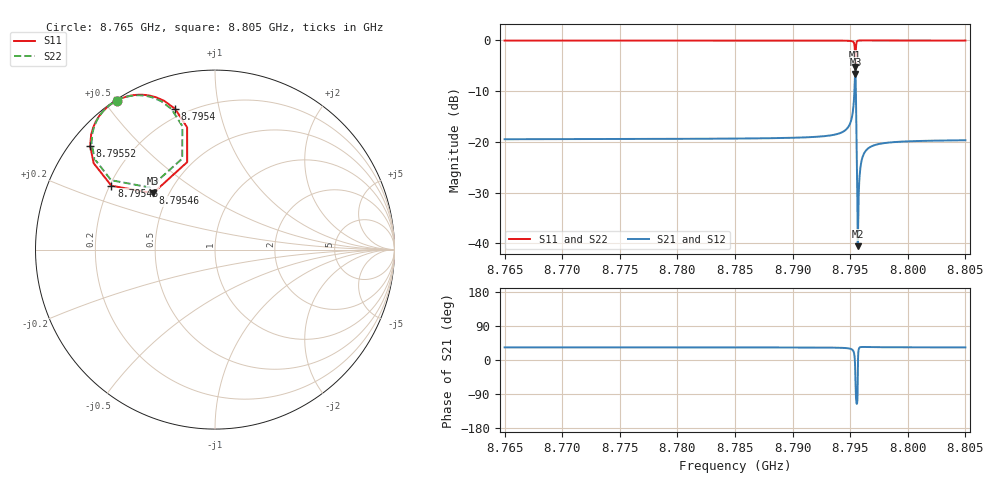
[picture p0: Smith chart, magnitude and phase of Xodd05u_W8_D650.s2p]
! Sonnet Data File
! From: emgraph Version : 16.52
! From Project: Qubit_Xmon2_brg_para2
! Data is De-embedded
! Data File Written: 11/12/2017 21:29:58
!< HDATE 11/12/2017 19:10:47
!< MDATE 11/12/2017 19:10:47
!< PARAMS
!< Lj = 11.0
!< Gap = 6.0
!< Pwid = 2000.0
!< Airgap = 6.0
!< Width = 10.0
!< Bwid = 8.0
!< Dis1 = 650.0
!< Dis2 = 656.0
!< END PARAMS
# GHZ S MA R 34.65000
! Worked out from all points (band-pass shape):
!   2001 points, 8.765 GHz to 8.805 GHz, reference 34.65 ohm
!   highest |S21| = -5.34 dB at 8.79544 GHz (marker M1); lowest = -40.5 dB at 8.79566 GHz (marker M2)
!   |S21| within 3 dB of the highest: 8.795394 GHz to 8.795483 GHz (89.68 kHz wide, 0.00102 % of centre)
!   lowest |S11| = -6.6 dB at 8.79546 GHz (marker M3), VSWR 2.75, Z = 14.2 + j11.4 ohm
!   |S11| at or under -10 dB: nowhere
!   |S22| runs from -6.0 to 0.0 dB; largest |S21 - S12| = 0
!   S11 on the Smith chart (normalised r, x): 8.765 GHz: 0.00, +0.54; 8.7954 GHz: 0.16, +0.74; 8.79546 GHz: 0.41, +0.33; 8.79548 GHz: 0.21, +0.27; 8.79552 GHz: 0.06, +0.36; 8.805 GHz: 0.00, +0.54
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8.765  0.9944 123.4  0.1061 33.4  0.1061 33.4  0.9944 123.4
!< P1 F=8.765 Eeff=(5.13709823 -5.6953e-5) Z0=(34.64455 -9.67e-5) R=0.0 C=0.0
!< P2 F=8.765 Eeff=(5.13709823 -5.6953e-5) Z0=(34.64455 -9.67e-5) R=0.0 C=0.0
8.77168  0.9943 123.3  0.1064 33.4  0.1064 33.4  0.9943 123.4
8.77834  0.9943 123.3  0.1068 33.3  0.1068 33.3  0.9943 123.3
8.785  0.9942 123.2  0.1077 33.2  0.1077 33.2  0.9942 123.2
8.79168  0.9937 122.9  0.1115 32.9  0.1115 32.9  0.9937 123.0
8.7945  0.9913 121.9  0.1283 31.8  0.1283 31.8  0.9913 122.0
8.79494  0.9875 120.8  0.1473 30.3  0.1473 30.3  0.9876 121.0
8.79518  0.9778 118.7  0.1823 27.2  0.1823 27.2  0.9781 119.0
8.7953  0.9548 115.4  0.237 21.7  0.237 21.7  0.9559 115.9
8.7954  0.8141 105.8  0.4012 1.5  0.4012 1.5  0.8211 107.2
8.79544  0.5115 107.6  0.5406 -30.7  0.5406 -30.7  0.5389 109.8
8.79546  0.4669 137.7  0.5242 -57.7  0.5242 -57.7  0.5007 136.3
8.79548  0.6784 148.3  0.4059 -82.2  0.4059 -82.2  0.696 146.3
8.79552  0.9043 140.3  0.196 -107.2  0.196 -107.2  0.9094 139.2
8.79566  0.9904 129.4  0.009393 -43.7  0.009393 -43.7  0.991 129.1
8.79574  0.9945 127.7  0.03047 28.4  0.03047 28.4  0.9948 127.5
8.7958  0.9956 127.0  0.04329 32.4  0.04329 32.4  0.9958 126.8
8.796  0.9964 125.6  0.06614 34.4  0.06614 34.4  0.9965 125.5
8.79632  0.9962 124.7  0.08083 34.3  0.08083 34.3  0.9962 124.7
8.797  0.9956 124.0  0.09186 33.9  0.09186 33.9  0.9956 124.0
8.79834  0.9951 123.7  0.09838 33.6  0.09838 33.6  0.9951 123.7
8.805  0.9946 123.3  0.1037 33.3  0.1037 33.3  0.9946 123.3
